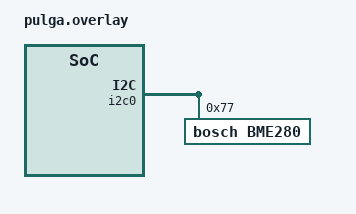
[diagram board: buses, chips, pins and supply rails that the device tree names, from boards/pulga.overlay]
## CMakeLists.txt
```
#-------------------------------------------------------------------------------
# Zephyr Example Application
#
# Copyright (c) 2021 Nordic Semiconductor ASA
# SPDX-License-Identifier: Apache-2.0

cmake_minimum_required(VERSION 3.13.1)

# Uncomment to activate GPS shield, when Pulga-GPS module is attached to the stack
# list(APPEND SHIELD pulga_gps)

# Uncomment to activate LoRa shield, when Pulga-LoRa module is attached to the stack
 list(APPEND SHIELD pulga-lora)

# Uncomment to activate SCD30 shield, a CO2 concentration sensor
 list(APPEND SHIELD scd30)

# Uncomment to activate vbatt shield, a battery voltage divider
# list(APPEND SHIELD pulga_vbatt)

find_package(Zephyr REQUIRED HINTS $ENV{ZEPHYR_BASE})

project(app LANGUAGES C)

target_include_directories(app PRIVATE ${CMAKE_CURRENT_SOURCE_DIR}/src)

target_sources(app PRIVATE 
                    src/main.c
                    src/communication/comm_interface.c
                    src/communication/uart/uart_interface.c
                    src/integration/data_buffer/buffer_service.c
                    src/integration/data_abstraction/abstraction_service.c
                    src/integration/data_abstraction/text_model/text_model.c
                    src/sensors/sensors_interface.c
                    src/sensors/bme280/bme280_model.c
                    src/sensors/bme280/bme280_service.c
                    src/sensors/bmi160/bmi160_model.c
                    src/sensors/bmi160/bmi160_service.c
                    src/sensors/si1133/si1133_model.c
                    src/sensors/si1133/si1133_service.c
                    src/communication/ble/ble_setup.c)
                    
if(CONFIG_SHIELD_PULGA_GPS)
    target_sources(app PRIVATE  
                        src/sensors/l86_m33/gnss_model.c
                        src/sensors/l86_m33/l86_m33_service.c)
endif()

if(CONFIG_SHIELD_PULGA_LORA)
    target_sources(app PRIVATE  
                        src/communication/lorawan/lorawan_buffer/lorawan_buffer.c
                        src/communication/lorawan/lorawan_interface.c
                        src/communication/lorawan/lorawan_setup.c)
endif()

if(CONFIG_SHIELD_SCD30)
    target_sources(app PRIVATE  
                        src/sensors/scd30/scd30_model.c
                        src/sensors/scd30/scd30_service.c)
endif()

if(CONFIG_SHIELD_PULGA_VBATT)
    target_sources(app PRIVATE
                        src/sensors/vbatt/vbatt_model.c
                        src/sensors/vbatt/vbatt_service.c)
endif()

if(NOT CONFIG_EVENT_TIMESTAMP_NONE)
    target_sources(app PRIVATE  
                        src/integration/timestamp/timestamp_service.c)
endif()

if(CONFIG_SHELL)
    target_sources(app PRIVATE
                        src/communication/shell_commands.c)
endif()
```

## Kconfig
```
# Copyright (c) 2021 Nordic Semiconductor ASA
# SPDX-License-Identifier: Apache-2.0
#
# This file is the application Kconfig entry point. All application Kconfig
# options can be defined here or included via other application Kconfig files.
# You can browse these options using the west targets menuconfig (terminal) or
# guiconfig (GUI).

menu "Zephyr"
source "Kconfig.zephyr"
endmenu

module = APP
module-str = APP
source "subsys/logging/Kconfig.template.log_config"

###
# Application Configs
###

config SAMPLING_INTERVAL
	int "Sampling Interval in Milliseconds"
	default 1000
	depends on SENSOR
	
config TRANSMISSION_INTERVAL
	int "Transmission Interval in Milliseconds. Mininum value of 1 guarantees correct system operation"
	default 1

config BUFFER_WORDS
	int "Number of 32-bit words the buffers can hold"
	default 45000 # Using 180 out of 256kB of memory
	depends on RING_BUFFER

###
# Timestamp Configs
###

choice EVENT_TIMESTAMP_SOURCE
    prompt "Selects the source of the time reference used to timestamp events"
    default EVENT_TIMESTAMP_NONE
	help
	   To ensure correct interpretation of data, it's recommended to enable 
	   timestamping when joining LoRaWAN packets or when the sampling rate is much
	   higher than the transmission rate. 

config EVENT_TIMESTAMP_NONE
    bool "No timestamp"
    help
        Events will not be timestamped, leaving the time interpretation to the end user.

config EVENT_TIMESTAMP_UPTIME
    bool "Use system uptime, which is reset when the system is powered off."
    help
        Use only the system uptime, so the end user may need to infer the correspondent real time.

config EVENT_TIMESTAMP_LORAWAN
    bool "Use LoRaWAN network time"
    depends on LORAWAN
    help
        Get Posix time when joining LoRaWAN network and later infer 
		the current time using system uptime.

config EVENT_TIMESTAMP_GNSS
    bool "Use GNSS satellite time"
    depends on GNSS
    help
        Periodically gets Posix time from a GNSS module and, if needed,
		later infer the current time using system uptime.
endchoice

###
# Transmission Configs
###

config SEND_UART
	bool "Print data in buffer in console via UART"
	default UART_CONSOLE

###
# LoRaWAN Configs
###

config SEND_LORAWAN
	bool "Send data using LoRaWAN, given Pulga-LoRa shield is attached"
	depends on SHIELD_PULGA_LORA
	select LORAWAN

config LORAWAN_DR
	int "Fixed data rate to be used"
	depends on SEND_LORAWAN
	default 0

choice LORAWAN_ACTIVATION
	prompt "LoRaWAN activation mode used to join network"
	depends on SEND_LORAWAN
	default LORAWAN_ABP

# TODO: Missing storing and updating nonce in non volatile memory
config LORAWAN_OTAA
	bool "OTAA - more secure - dynamic key generation"

config LORAWAN_ABP
	bool "ABP - less secure - no key renewal"

endchoice

config LORAWAN_JOIN_PACKET
	bool "Join data in the buffer to make the most of a packet size"
	default n
```

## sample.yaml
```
# This file is provided so that the application can be compiled using Twister,
# the Zephyr testing tool. In this file, multiple combinations can be specified,
# so that you can easily test all of them locally or in CI.
sample:
  description: Example application
  name: example-application 
common:
  build_only: true
  integration_platforms:
    - pulga
    - nucleo_f302r8
tests:
  app.default: {}
  app.debug:
    extra_overlay_confs:
      - debug.conf
```

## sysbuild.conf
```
SB_CONFIG_BOOTLOADER_MCUBOOT=y

SB_CONFIG_BOOT_SIGNATURE_TYPE_ECDSA_P256=y
```

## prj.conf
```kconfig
# Copyright (c) 2021 Nordic Semiconductor ASA
# SPDX-License-Identifier: Apache-2.0
#
# This file contains selected Kconfig options for the application.

CONFIG_RING_BUFFER=y
CONFIG_RING_BUFFER_LARGE=y
CONFIG_TRANSMISSION_INTERVAL=500
CONFIG_SAMPLING_INTERVAL=10000
CONFIG_SYSTEM_WORKQUEUE_STACK_SIZE=2048

CONFIG_RING_BUFFER=y
CONFIG_RING_BUFFER_LARGE=y
CONFIG_SYSTEM_WORKQUEUE_STACK_SIZE=2048

# Activates the use of Zephyr's API for sensors
CONFIG_SENSOR=y
CONFIG_CBPRINTF_FP_SUPPORT=y

CONFIG_SEND_UART=y
CONFIG_SEND_LORAWAN=y
# # Region defined by Everynet for use in Brazil
# # https://ns.docs.everynet.io/channel_plans/LA915A.html
# # The configured LoRaWAN region must also be selected in lorawan.interface
CONFIG_LORAMAC_REGION_LA915=y
CONFIG_LORAWAN_JOIN_PACKET=y
CONFIG_LORAWAN_DR=5
CONFIG_EVENT_TIMESTAMP_LORAWAN=y

CONFIG_APP_LOG_LEVEL_DBG=y
CONFIG_SENSOR_LOG_LEVEL_DBG=y
CONFIG_DEBUG_OPTIMIZATIONS=y
CONFIG_LOG_PROCESS_THREAD_SLEEP_MS=1
CONFIG_LOG_PROCESS_THREAD_STACK_SIZE=1024
CONFIG_LOG_BUFFER_SIZE=4096
CONFIG_LORAWAN_LOG_LEVEL_DBG=y
CONFIG_LORA_LOG_LEVEL_DBG=y

CONFIG_BT=y
CONFIG_BT_GATT_CLIENT=y
CONFIG_BT_BROADCASTER=y
CONFIG_BT_OBSERVER=y

CONFIG_BT_ATT_PREPARE_COUNT=1
CONFIG_BT_PERIPHERAL=y

CONFIG_BT_CTLR_TX_PWR_PLUS_8=y  # Max +8 dBm for nRF52832/nRF52840

CONFIG_BT_L2CAP_TX_MTU=251
CONFIG_BT_BUF_ACL_RX_SIZE=260
CONFIG_BT_BUF_ACL_TX_SIZE=260
CONFIG_BT_CTLR_DATA_LENGTH_MAX=251

CONFIG_BT_RX_STACK_SIZE=1024

# Defines name that will be used to advertise device
CONFIG_BT_DEVICE_NAME="Pulga iot calib cafe01"
# Appearance = Generic Industrial Measurement Device
#CONFIG_BT_DEVICE_APPEARANCE=5248
```

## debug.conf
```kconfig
# Copyright (c) 2021 Nordic Semiconductor ASA
# SPDX-License-Identifier: Apache-2.0
#
# This is a Kconfig fragment which can be used to enable debug-related options
# in the application. See the README for more details.

CONFIG_APP_LOG_LEVEL_DBG=y
CONFIG_SENSOR_LOG_LEVEL_DBG=y
CONFIG_DEBUG_OPTIMIZATIONS=y
CONFIG_LOG_PROCESS_THREAD_SLEEP_MS=1
CONFIG_LOG_PROCESS_THREAD_STACK_SIZE=1024
CONFIG_LOG_BUFFER_SIZE=8192
# # GNSS logging
# CONFIG_GNSS_LOG_LEVEL_DBG=y
# CONFIG_MODEM_MODULES_LOG_LEVEL_DBG=y
# # LoRa logging
# CONFIG_LORAWAN_LOG_LEVEL_DBG=y
# CONFIG_LORA_LOG_LEVEL_DBG=y
```

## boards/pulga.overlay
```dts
/**
 * This piece of code activates the sensors internal to the board,
  * connected to the CPU by I2C0
  */
 &i2c0 {

	 /*Visible light, Infrared and UV Sensor*/
	 si1133@55 {
		 compatible = "silabs,si1133";
		reg = <0x55>;
		status = "disabled";
	};

	/*Accelerometer and Gyroscope*/
	bmi160@69 {
		compatible = "bosch,bmi160";
		reg = <0x69>;
		int-gpios = <&gpio0 16 GPIO_ACTIVE_LOW>;
		status = "disabled";
	};

	/*Umidity, Pressure and Temperature Sensor*/
	bme280@77 {
		compatible = "bosch,bme280";
		reg = <0x77>;
		status = "okay";
	};
};
```

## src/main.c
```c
#include <zephyr/logging/log.h>

#include <sensors/sensors_interface.h>
#include <integration/data_abstraction/abstraction_service.h>
#include <communication/comm_interface.h>

#include <zephyr/bluetooth/bluetooth.h>
#include <zephyr/bluetooth/hci.h>
#include <zephyr/bluetooth/conn.h>
#include <zephyr/bluetooth/uuid.h>
#include <zephyr/bluetooth/gatt.h>
#include <zephyr/bluetooth/services/bas.h>

#include <communication/ble/ble_setup.h>

// change log level in debug.conf
LOG_MODULE_REGISTER(main, CONFIG_APP_LOG_LEVEL);

// Registers application callbacks
int register_callbacks();

int main(void)
{
	LOG_DBG("Starting application");
	if(!register_callbacks()){
		if(init_communication()){
			LOG_ERR("Couldn't start communication.");
		}
		if(read_sensors()){
			LOG_ERR("Couldn't start sensors.");
		}
	}

	int error = bt_enable(NULL);

    if (error)
    {
        LOG_DBG("Bluetooth init failed (err %d)\n \r", error);
        return error;
    }

    bt_start_advertising();

    while (1)
    {
        k_sleep(K_MSEC(1000));
        bt_start_advertising(); //re-enable advertising after disconnect
    }

	k_sleep(K_FOREVER);
	return 0;
}

int register_callbacks(){
	// register sensors callbacks
	if(register_sensors_callbacks()){
		LOG_ERR("Couldn't register sensors callback.");
		return -1;
	}
	// register channels callbacks
	if(register_comm_callbacks()){
		LOG_ERR("Couldn't register channels callbacks.");
		return -2;
	}
	// register data type callbacks
	if(register_data_callbacks()){
		LOG_ERR("Couldn't register data type callbacks.");
		return -3;
	}
	return 0;
}
```
